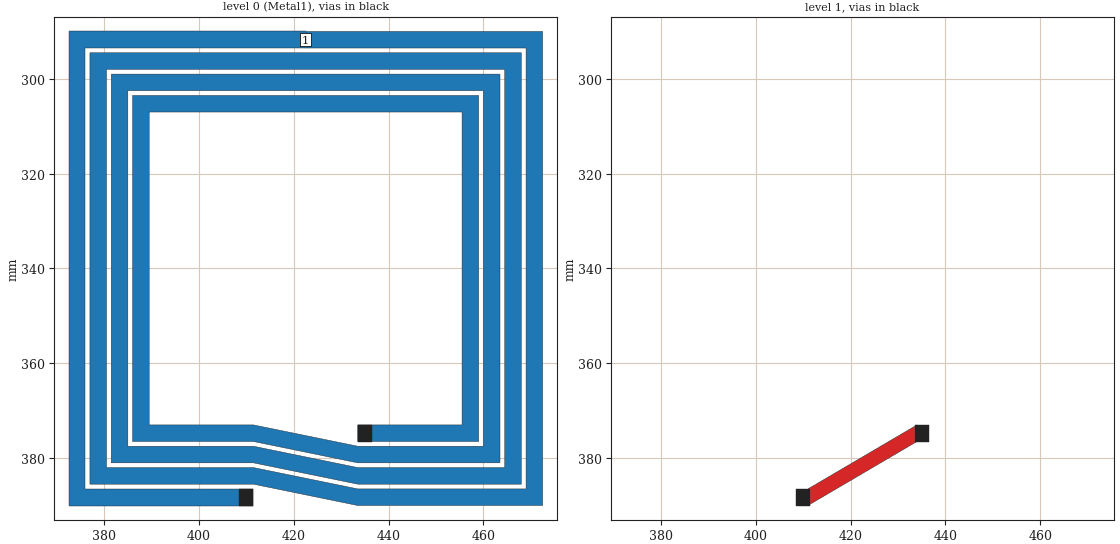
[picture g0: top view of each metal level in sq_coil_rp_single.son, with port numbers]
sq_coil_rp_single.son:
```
FTYP SONPROJ 18 ! Sonnet Project File
VER 17.56
HEADER
LIC Sonn.1.12345 a8a159aaaac1 DESKTOP-AOHDA0A mean1 FullLicense
DAT 03/04/2023 14:32:50
BUILT_BY_CREATED xgeom 18.53-Lite 12/10/2022 14:39:05
BUILT_BY_SAVED sonnet 17.56
MDATE 03/04/2023 14:32:50
HDATE 03/04/2023 14:32:50
END HEADER
DIM
ANG DEG
CAP PF
CON /OH
FREQ GHZ
IND NH
LNG MM
RES OH
END DIM
CONTROL
VARSWP
OPTIONS  -d
SPEED 0
CACHE_ABS 2
Q_ACC N
END CONTROL
GEO
TMET "Lossless" 0 SUP 0 0 0 0
BMET "Lossless" 0 SUP 0 0 0 0
BOX 2 1000 1000 4000 4000 20 0
      300 1 1 0 0 0 0 "Air"
      1.6 4.4 1 0.02 0 0 0 "FR4"
      300 1 1 0 0 0 0 "AIR"
TECHLAY METAL Metal1 <UNSPECIFIED> -2 -65534 
0 0 -1 N 246 1 1 100 100 0 0 0 Y
END
END
LORGN 0 6.35 U 
POR1 GAP
POLY 301 1
1
1 50 0 0 0 422.5 291.75 
NUM 5
0 46 -1 N 301 1 1 100 100 0 0 0 Y
TLAYNAM Metal1 INH
472.5 290
422.5 290
422.5 293.5
469 293.5
469 386.5
433.5 386.5
411.5 382
380.5 382
380.5 298
464.5 298
464.5 382
433.5 382
411.5 377.5
385 377.5
385 302.5
460 302.5
460 377.5
433.5 377.5
411.5 373
389.5 373
389.5 307
455.5 307
455.5 373
433.5 373
433.5 376.5
459 376.5
459 303.5
386 303.5
386 307
386 376.5
411.5 376.5
433.5 381
463.5 381
463.5 299
381.5 299
381.5 381
411.5 381
433.5 385.5
468 385.5
468 294.5
377 294.5
377 385.5
411.5 385.5
433.5 390
472.5 390
472.5 290
END
0 9 -1 N 302 1 1 100 100 0 0 0 Y
TLAYNAM Metal1 INH
411.5 386.5
376 386.5
376 293.5
422.5 293.5
422.5 290
372.5 290
372.5 390
411.5 390
411.5 386.5
END
VIA POLYGON
0 5 -1 N 294 1 1 100 100 0 0 0 Y
TOLEVEL 1 RING NOCOVERS
433.5 373
436.5 373
436.5 376.5
433.5 376.5
433.5 373
END
VIA POLYGON
0 5 -1 N 295 1 1 100 100 0 0 0 Y
TOLEVEL 1 RING NOCOVERS
408.5 386.5
411.5 386.5
411.5 390
408.5 390
408.5 386.5
END
1 5 -1 N 296 1 1 100 100 0 0 0 Y
434 373
411 386.5
411 390
434 376.5
434 373
END
END GEO
OPT
MAX 100
END OPT
VARSWP
ENABLED Y
FREQ N AY ABS_ENTRY UNK 
FREQ N AN STEP 0.0135
FREQ Y AN SWEEP 0.013 0.014 0.001
END
END VARSWP
FILEOUT
TOUCH D Y $BASENAME.s1p IC 15 S RI R 50.00000
FOLDER .
END FILEOUT
```
